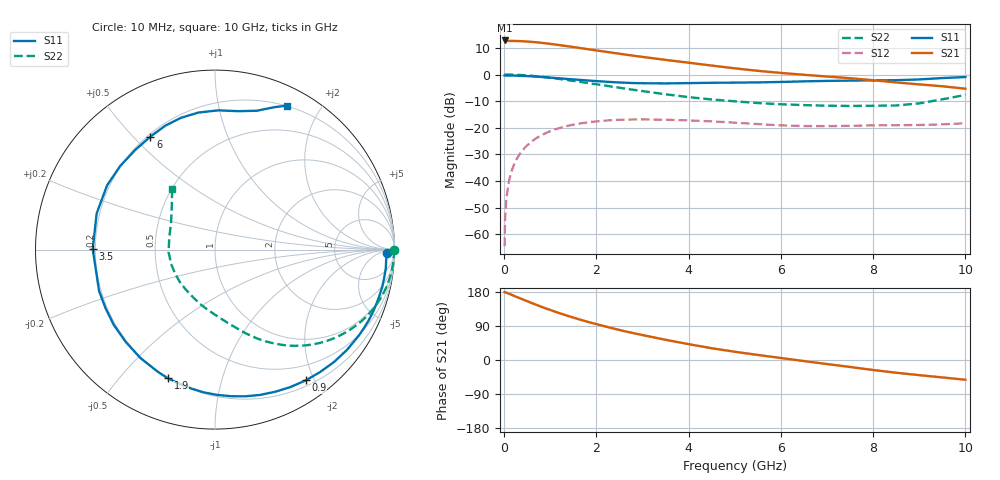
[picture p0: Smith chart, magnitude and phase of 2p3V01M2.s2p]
! (c) 2009  Infineon Technologies AG, Munich
! Infineon Technologies  Discrete & RF Semiconductors
! BFP420
! VCE =  3.0 V,  IC =  1.2 mA
! Common Emitter S-Parameters:  Nov 2009
# GHz  S  MA  R  50
!  f  S11  S21  S12  S22
! GHz  MAG  ANG  MAG  ANG  MAG  ANG  MAG  ANG
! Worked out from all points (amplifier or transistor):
!   46 points, 10 MHz to 10 GHz, reference 50 ohm
!   highest |S21| = 12.8 dB at 10 MHz (marker M1)
!   |S21| within 3 dB of that: start of sweep to 1.711 GHz
!   unconditionally stable (mu >= 1): 4.293 GHz to end of sweep
!   at 300 MHz: K = 0.03, MSG = 21.7 dB, |S12| = -30.9 dB
!   at 1.7 GHz: K = 0.28, MSG = 14.0 dB, |S12| = -18.2 dB
!   at 10 GHz: K = 1.32, MAG = 3.1 dB, |S12| = -18.3 dB
!   lowest NFmin = 0.53 dB at 900 MHz
!   S11 on the Smith chart (normalised r, x): 10 MHz: 40, -17; 900 MHz: 0.28, -1.88; 1.9 GHz: 0.20, -0.68; 3.5 GHz: 0.19, +0.00; 6 GHz: 0.21, +0.56; 10 GHz: 0.20, +1.60
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0.01  0.9587 -1.0  4.357 179.3  0.0006 65.0  0.997 0.0
0.02  0.957 -1.1  4.216 179.3  0.0019 83.9  0.9967 -0.6
0.05  0.9555 -3.0  4.249 177.5  0.0048 86.7  0.997 -1.6
0.1  0.9572 -6.2  4.272 175.1  0.0096 86.2  0.9962 -3.4
0.2  0.9547 -12.4  4.269 170.1  0.0191 82.7  0.9916 -6.8
0.35  0.9459 -21.7  4.231 162.6  0.0333 77.2  0.9792 -11.8
0.6  0.9237 -37.2  4.094 150.2  0.0557 68.0  0.9451 -19.9
0.9  0.8871 -55.2  3.847 136.3  0.0793 57.4  0.8886 -28.8
1.2  0.8476 -72.8  3.563 123.5  0.099 47.7  0.8239 -37.0
1.4  0.8214 -83.9  3.369 115.6  0.1097 41.6  0.7801 -41.9
1.7  0.7848 -99.9  3.095 104.7  0.1227 33.4  0.716 -48.4
1.9  0.7634 -110.1  2.917 97.8  0.1292 28.2  0.6748 -52.5
2.2  0.7334 -124.5  2.676 88.3  0.1365 21.2  0.6181 -57.8
2.6  0.7028 -143.4  2.387 76.4  0.1421 12.5  0.5481 -64.6
3  0.6857 -160.4  2.139 65.8  0.1436 5.0  0.4887 -70.7
3.5  0.6812 179.8  1.881 53.3  0.1417 -2.9  0.4255 -78.5
4.5  0.6998 149.2  1.472 31.0  0.1319 -14.5  0.3404 -96.2
5.5  0.7111 128.8  1.173 13.3  0.1173 -20.8  0.2917 -115.1
6  0.7251 119.8  1.071 5.3  0.111 -21.4  0.2762 -125.7
7  0.7583 104.5  0.917 -10.7  0.1073 -20.3  0.2597 -148.5
8.5  0.7821 80.4  0.711 -33.6  0.1117 -21.6  0.2624 166.6
10  0.8965 63.5  0.542 -52.1  0.1218 -21.4  0.4131 125.3
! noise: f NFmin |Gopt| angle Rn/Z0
0.9  0.53  0.62  33  0.31
1.8  1.1  0.4  77  0.24
2.4  1.23  0.41  100  0.2
3  1.51  0.41  132  0.14
4  1.8  0.44  -175  0.09
5  2.23  0.45  -132  0.38
6  3.18  0.57  -116  0.44
